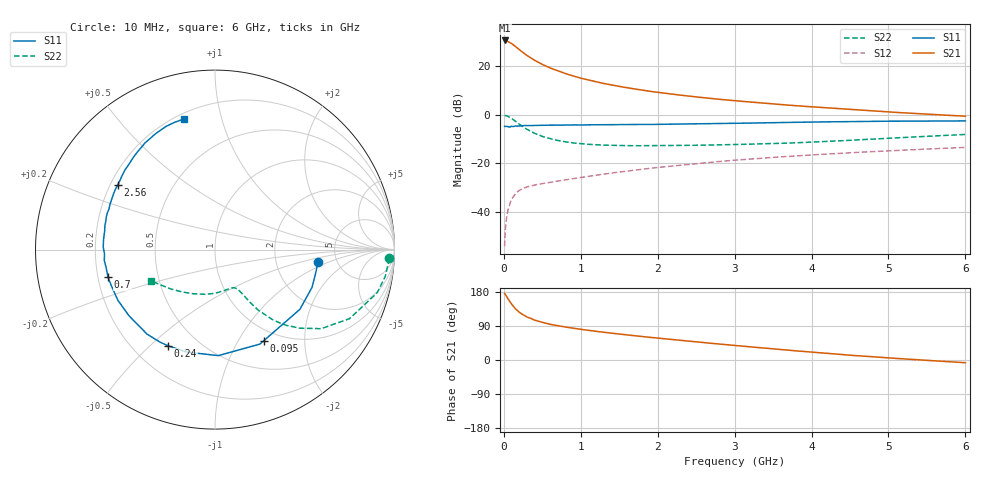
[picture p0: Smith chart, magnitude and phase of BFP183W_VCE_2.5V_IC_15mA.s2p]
! Infineon Technologies  Discrete & RF Semiconductors
! BFP183W
! VCE = 2.5 V,  IC =  15 mA
! Common Emitter S-Parameters:  Jan 2016
# GHz  S  MA  R  50
!  f  S11  S21  S12  S22
! GHz  MAG  ANG  MAG  ANG  MAG  ANG  MAG  ANG
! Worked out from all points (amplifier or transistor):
!   210 points, 10 MHz to 6 GHz, reference 50 ohm
!   highest |S21| = 30.5 dB at 10 MHz (marker M1)
!   |S21| within 3 dB of that: start of sweep to 171 MHz
!   unconditionally stable (mu >= 1): 1.067 GHz to 4.99 GHz
!   at 185 MHz: K = 0.29, MSG = 29.3 dB, |S12| = -31.4 dB
!   at 1.52 GHz: K = 1.11, MAG = 15.4 dB, |S12| = -23.4 dB
!   at 6 GHz: K = 0.96, MSG = 6.4 dB, |S12| = -13.4 dB
!   S11 on the Smith chart (normalised r, x): 10 MHz: 3.57, -0.76; 95 MHz: 0.85, -1.29; 240 MHz: 0.34, -0.57; 700 MHz: 0.24, -0.12; 2.56 GHz: 0.23, +0.29; 6 GHz: 0.23, +0.76
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0.01  0.5786 -7.0  33.65 175.6  0.002 88.7  0.9734 -2.9
0.03  0.5801 -21.2  33.46 169.5  0.0066 82.8  0.9603 -9.0
0.05  0.5784 -35.1  32.48 162.4  0.0104 76.7  0.9351 -14.9
0.095  0.5756 -61.8  29.43 149.1  0.0175 64.5  0.8498 -25.9
0.1  0.5828 -64.6  29.2 147.5  0.0183 63.7  0.8425 -27.2
0.15  0.591 -88.2  25.38 135.2  0.024 55.7  0.7373 -36.7
0.2  0.5922 -105.4  21.83 126.0  0.028 50.7  0.6418 -43.0
0.24  0.5962 -115.9  19.53 120.6  0.0302 47.5  0.5799 -46.7
0.3  0.6042 -128.7  16.57 113.5  0.033 44.0  0.5029 -50.7
0.4  0.6046 -142.4  13.15 105.2  0.0361 42.3  0.416 -54.4
0.5  0.6104 -152.5  10.84 99.1  0.0385 42.2  0.3597 -56.2
0.6  0.6115 -159.7  9.17 94.3  0.0408 42.9  0.3227 -57.2
0.7  0.6152 -165.5  7.987 90.4  0.0436 43.8  0.2965 -58.0
0.8  0.6145 -170.5  7.01 86.8  0.0463 45.1  0.278 -58.7
1.02  0.6173 -178.6  5.552 80.5  0.052 47.6  0.2536 -60.4
1.4  0.6233 170.5  4.088 70.8  0.0634 50.2  0.2359 -64.4
2.02  0.6375 156.4  2.867 57.4  0.0833 51.9  0.2323 -73.9
2.56  0.651 146.2  2.276 46.6  0.1014 51.2  0.2379 -83.8
3.1  0.6722 136.8  1.887 36.7  0.1199 49.2  0.2469 -95.4
4.1  0.7131 122.0  1.423 19.3  0.1529 44.1  0.2788 -119.1
5.1  0.7393 110.9  1.119 4.2  0.1849 38.1  0.3356 -140.2
6  0.748 103.4  0.937 -7.2  0.2137 32.8  0.3943 -153.9
